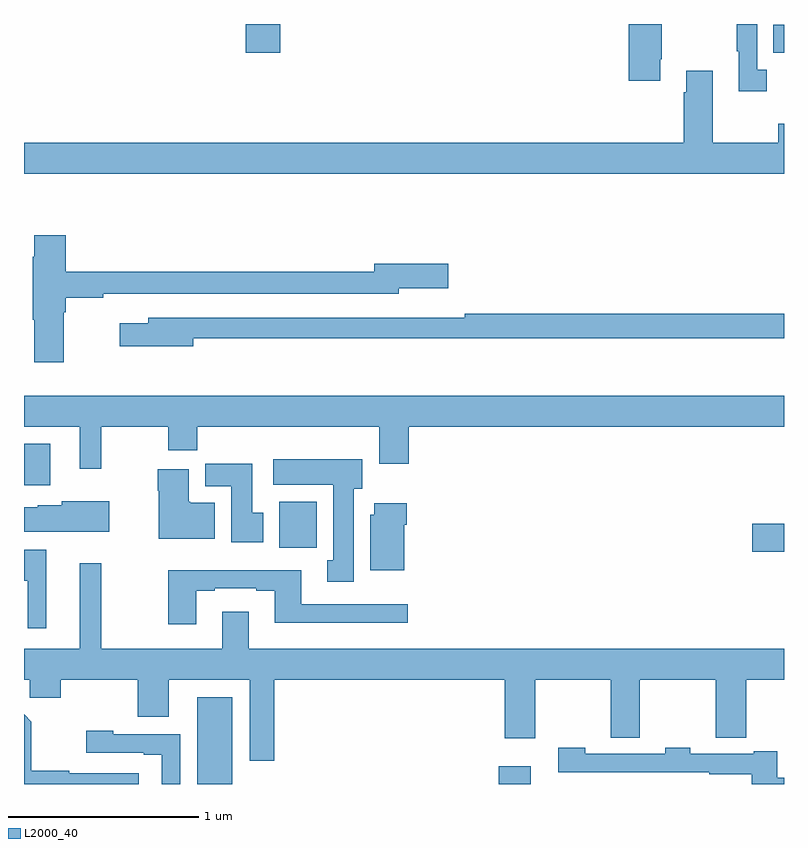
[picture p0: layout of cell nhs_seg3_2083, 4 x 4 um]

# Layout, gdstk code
import gdstk
lib = gdstk.Library(unit=1e-6, precision=1e-09)
def R(c, l, rs):  # rectangles x0, y0, x1, y1
    for r in rs: c.add(gdstk.rectangle(r[:2], r[2:], *l))
def P(c, l, *ps):  # polygons
    for p in ps: c.add(gdstk.Polygon(p, *l))
L2000_40 = (2000, 40)

nhs_seg3_2083 = lib.new_cell('nhs_seg3_2083')
R(nhs_seg3_2083, L2000_40, [(219.911,668.4,220.096,668.857), (221.498,668.4,221.668,668.494), (222.834,669.623,223,669.77), (220.343,669.644,220.54,669.886), (219,669.972,219.139,670.192), (220.166,672.249,220.349,672.4), (222.943,672.25,223,672.397)])
P(nhs_seg3_2083, L2000_40, [(222.91,672.158),(222.858,672.158),(222.858,672.4),(222.75,672.4),(222.75,672.257),(222.761,672.257),(222.761,672.045),(222.91,672.045)],
  [(222.349,672.214),(222.357,672.214),(222.357,672.4),(222.182,672.4),(222.182,672.102),(222.349,672.102)],
  [(223,671.875),(222.97,671.875),(222.97,671.776),(222.625,671.776),(222.625,672.154),(222.485,672.154),(222.485,672.041),(222.473,672.041),(222.473,671.776),(219,671.776),(219,671.612),(223,671.612)],
  [(219.208,670.883),(219.221,670.883),(219.221,670.96),(219.416,670.96),(219.416,670.98),(220.972,670.98),(220.972,671.009),(221.233,671.009),(221.233,671.139),(220.844,671.139),(220.844,671.096),(219.221,671.096),(219.221,671.287),(219.053,671.287),(219.053,671.174),(219.046,671.174),(219.046,670.843),(219.053,670.843),(219.053,670.62),(219.208,670.62)],
  [(219.892,670.746),(223,670.746),(223,670.874),(221.32,670.874),(221.32,670.855),(221.068,670.855),(221.068,670.854),(219.653,670.854),(219.653,670.825),(219.504,670.825),(219.504,670.703),(219.892,670.703)],
  [(219.407,670.28),(219.76,670.28),(219.76,670.156),(219.911,670.156),(219.911,670.28),(220.871,670.28),(220.871,670.086),(221.024,670.086),(221.024,670.28),(223,670.28),(223,670.444),(219,670.444),(219,670.28),(219.293,670.28),(219.293,670.059),(219.407,670.059)],
  [(220.735,669.954),(220.78,669.954),(220.78,670.108),(220.311,670.108),(220.311,669.974),(220.628,669.974),(220.628,669.578),(220.595,669.578),(220.595,669.465),(220.735,669.465)],
  [(220.258,669.828),(220.201,669.828),(220.201,670.086),(219.953,670.086),(219.953,669.968),(220.091,669.968),(220.091,669.672),(220.258,669.672)],
  [(220.003,669.88),(219.874,669.88),(219.874,669.886),(219.868,669.886),(219.868,670.057),(219.703,670.057),(219.703,669.944),(219.71,669.944),(219.71,669.692),(220.003,669.692)],
  [(219.448,669.889),(219.198,669.889),(219.198,669.868),(219.072,669.868),(219.072,669.857),(219,669.857),(219,669.728),(219.448,669.728)],
  [(221.002,669.764),(221.015,669.764),(221.015,669.877),(220.844,669.877),(220.844,669.816),(220.823,669.816),(220.823,669.524),(221.002,669.524)],
  [(219.118,669.634),(219,669.634),(219,669.47),(219.02,669.47),(219.02,669.219),(219.118,669.219)],
  [(219.407,669.562),(219.293,669.562),(219.293,669.112),(219,669.112),(219,668.948),(219.029,668.948),(219.029,668.855),(219.193,668.855),(219.193,668.948),(219.599,668.948),(219.599,668.754),(219.763,668.754),(219.763,668.948),(220.187,668.948),(220.187,668.523),(220.316,668.523),(220.316,668.948),(221.531,668.948),(221.531,668.64),(221.691,668.64),(221.691,668.948),(222.088,668.948),(222.088,668.644),(222.242,668.644),(222.242,668.948),(222.64,668.948),(222.64,668.644),(222.8,668.644),(222.8,668.948),(223,668.948),(223,669.112),(220.183,669.112),(220.183,669.307),(220.043,669.307),(220.043,669.112),(219.407,669.112)],
  [(219.907,669.417),(220.003,669.417),(220.003,669.429),(220.223,669.429),(220.223,669.417),(220.319,669.417),(220.319,669.248),(221.02,669.248),(221.02,669.345),(220.459,669.345),(220.459,669.526),(219.76,669.526),(219.76,669.24),(219.907,669.24)],
  [(219.604,668.457),(219.239,668.457),(219.239,668.47),(219.039,668.47),(219.039,668.727),(219,668.766),(219,668.4),(219.604,668.4)],
  [(219.822,668.661),(219.471,668.661),(219.471,668.68),(219.327,668.68),(219.327,668.565),(219.629,668.565),(219.629,668.553),(219.726,668.553),(219.726,668.4),(219.822,668.4)],
  [(223,668.432),(222.965,668.432),(222.965,668.572),(222.842,668.572),(222.842,668.559),(222.507,668.559),(222.507,668.592),(222.375,668.592),(222.375,668.559),(221.955,668.559),(221.955,668.592),(221.811,668.592),(221.811,668.463),(222.607,668.463),(222.607,668.451),(222.829,668.451),(222.829,668.4),(223,668.4)])

lib.write_gds('nhs_seg3_2083.gds')
